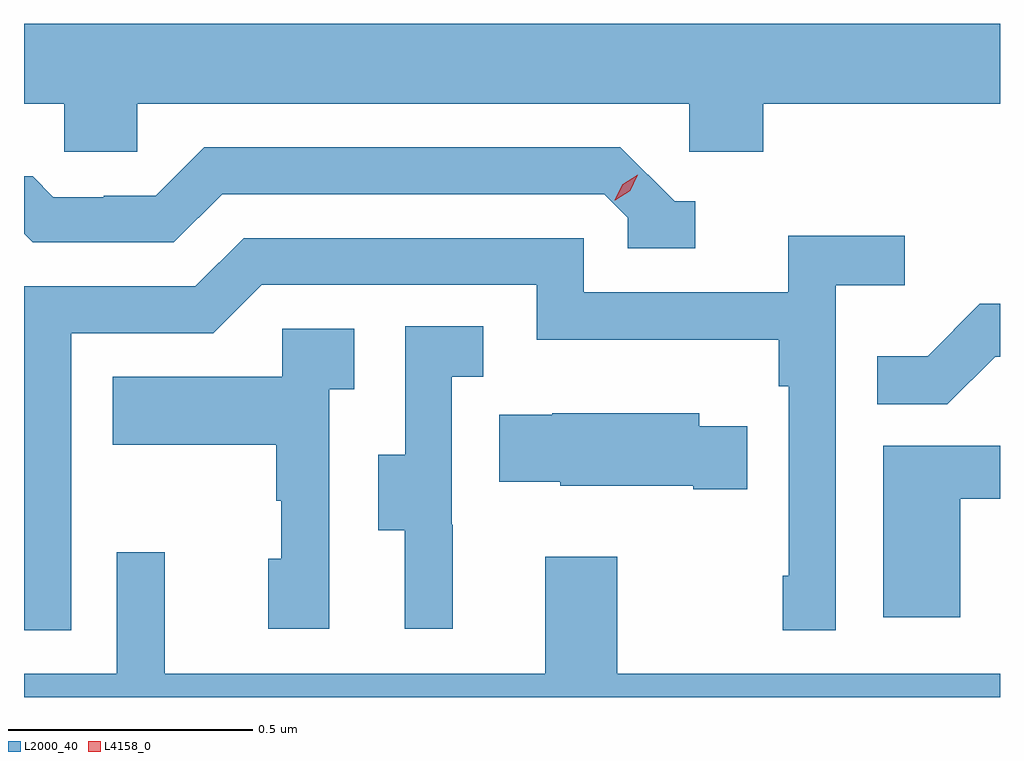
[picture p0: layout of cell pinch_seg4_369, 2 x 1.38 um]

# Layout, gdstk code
import gdstk
lib = gdstk.Library(unit=1e-6, precision=1e-09)
def P(c, l, *ps):  # polygons
    for p in ps: c.add(gdstk.Polygon(p, *l))
L2000_40 = (2000, 40)
L4158_0 = (4158, 0)

pinch_seg4_369 = lib.new_cell('pinch_seg4_369')
P(pinch_seg4_369, L2000_40, [(973.227,794.156),(974.358,794.156),(974.358,794.058),(974.51,794.058),(974.51,794.156),(974.995,794.156),(974.995,794.32),(972.995,794.32),(972.995,794.156),(973.077,794.156),(973.077,794.058),(973.227,794.058)],
  [(974.371,793.956),(974.328,793.956),(974.217,794.067),(973.364,794.067),(973.265,793.968),(973.158,793.968),(973.158,793.965),(973.055,793.965),(973.013,794.008),(972.995,794.008),(972.995,793.89),(973.013,793.872),(973.302,793.872),(973.401,793.971),(974.184,793.971),(974.232,793.923),(974.232,793.86),(974.371,793.86)],
  [(973.092,793.686),(973.383,793.686),(973.482,793.785),(974.046,793.785),(974.046,793.673),(974.542,793.673),(974.542,793.577),(974.562,793.577),(974.562,793.189),(974.55,793.189),(974.55,793.077),(974.658,793.077),(974.658,793.784),(974.8,793.784),(974.8,793.886),(974.561,793.886),(974.561,793.77),(974.142,793.77),(974.142,793.881),(973.445,793.881),(973.346,793.782),(972.996,793.782),(972.996,793.173),(972.995,793.173),(972.995,793.077),(973.092,793.077)],
  [(974.985,793.638),(974.995,793.638),(974.995,793.746),(974.954,793.746),(974.847,793.639),(974.743,793.639),(974.743,793.54),(974.887,793.54)],
  [(973.874,793.293),(973.872,793.293),(973.872,793.597),(973.936,793.597),(973.936,793.7),(973.776,793.7),(973.776,793.437),(973.721,793.437),(973.721,793.282),(973.775,793.282),(973.775,793.08),(973.874,793.08)],
  [(973.62,793.571),(973.672,793.571),(973.672,793.695),(973.524,793.695),(973.524,793.597),(973.177,793.597),(973.177,793.457),(973.512,793.457),(973.512,793.343),(973.522,793.343),(973.522,793.224),(973.496,793.224),(973.496,793.08),(973.62,793.08)],
  [(974.477,793.495),(974.379,793.495),(974.379,793.522),(974.077,793.522),(974.077,793.519),(973.969,793.519),(973.969,793.382),(974.094,793.382),(974.094,793.373),(974.366,793.373),(974.366,793.366),(974.477,793.366)],
  [(974.914,793.347),(974.995,793.347),(974.995,793.455),(974.756,793.455),(974.756,793.104),(974.914,793.104)],
  [(974.995,792.988),(974.211,792.988),(974.211,793.228),(974.063,793.228),(974.063,792.988),(973.283,792.988),(973.283,793.237),(973.185,793.237),(973.185,792.988),(972.995,792.988),(972.995,792.94),(974.995,792.94)])
P(pinch_seg4_369, L4158_0, [(974.206,793.958),(974.206,793.959),(974.222,793.991),(974.253,794.011),(974.253,794.011),(974.253,794.011),(974.237,793.978),(974.207,793.958)])

lib.write_gds('pinch_seg4_369.gds')
